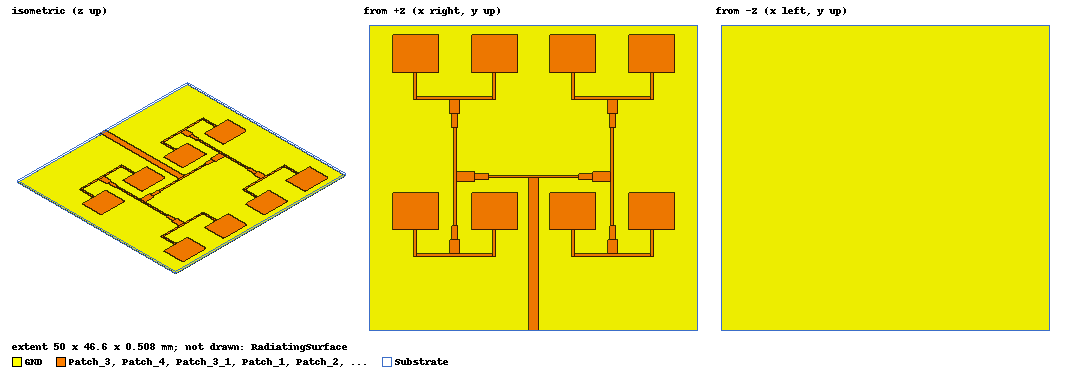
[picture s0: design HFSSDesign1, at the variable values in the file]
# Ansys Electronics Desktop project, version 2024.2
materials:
  vacuum: permittivity=1
  Rogers RT/duroid 5880 (tm): permittivity=2.2 dielectric_loss_tangent=0.0009

design HFSSDesign1 (HFSS, HFSS Terminal Network, model units mm)
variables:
  Lg = 11.67mm
  Wg = 24.61mm
  Hs = 0.508mm
  Ls = 11.67mm
  Ws = 24.61mm
  Wf = 1.565mm
  Lf = 2.2mm
  Lp = 3.51mm
  Wp = 4.591mm
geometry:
  50ohm = rectangle(corner=(11.67mm/2 - 2.2mm, -1.565mm/2, 0.508mm), x_size=2.2mm, y_size=1.565mm)
  100ohm_1 = rectangle(corner=(11.67mm/2 - Lf - 0.455mm, -11.545mm/2, 0.508mm), x_size=0.455mm, y_size=11.545mm)
  Feedline_1 = rectangle(corner=(3.635mm, -0.455mm-11.545mm/2, 0.508mm), x_size=-4.135mm, y_size=0.455mm)
  Feedline_2 = rectangle(corner=(3.635mm, 11.545mm/2, 0.508mm), x_size=-4.135mm, y_size=0.455mm)
  [50ohm, 100ohm_1, Feedline_1, Feedline_2].rotate(axis=Z, angle=270deg)
  70ohm = rectangle(corner=((0-0.9/2) mm, -5.835mm, 0.508mm), x_size=0.9mm, y_size=-2.14mm)
  100ohm_3 = rectangle(corner=((0-0.455/2) mm, -7.975mm, 0.508mm), x_size=0.455mm, y_size=-14.9mm)
  70ohm1 = rectangle(corner=((0-0.9/2) mm, (-5.835-10.9-2.14) mm, 0.508mm), x_size=0.9mm, y_size=-2.14mm)
  50ohm1 = rectangle(corner=(11.67mm/2 + 2.2mm + 2.14mm + 10.9mm, -1.565mm/2, 0.508mm), x_size=2.2mm, y_size=1.565mm)
  50ohm1.rotate(axis=Z, angle=270deg)
  50ohm1.move(0mm, 0.06mm, 0mm)
  100ohm_2 = rectangle(corner=(11.67mm/2 - Lf - 0.455mm, -11.545mm/2, 0.508mm), x_size=0.455mm, y_size=11.545mm)
  100ohm_2.rotate(axis=Z, angle=270deg)
  100ohm_2.move(0mm, -20.065mm, -0.008mm)
  100ohm_2.move(0mm, 0.03mm, 0.008mm)
  Feedline_3 = rectangle(corner=(3.635mm, -0.455mm-11.545mm/2, 0.508mm), x_size=-4.135mm, y_size=0.455mm)
  Feedline_3.rotate(axis=Z, angle=270deg)
  Feedline_4 = rectangle(corner=(3.635mm, 11.545mm/2, 0.508mm), x_size=-4.135mm, y_size=0.455mm)
  Feedline_4.rotate(axis=Z, angle=270deg)
  [Feedline_3, Feedline_4].move(-0.1725mm, -19.965mm, 0.092mm)
  [Feedline_3, Feedline_4].move(0.1725mm, -0.07mm, -0.092mm)
  [50ohm, 100ohm_1, Feedline_1, Feedline_2, 70ohm, 100ohm_3, 70ohm1, 50ohm1, 100ohm_2, Feedline_3, Feedline_4].move(-0.2275mm, 13.425mm, -0.508mm)
  50ohm_H1 = rectangle(corner=(0mm, (0+1.565/2) mm, 0mm), x_size=2.8mm, y_size=-1.565mm)
  70ohm_H1 = rectangle(corner=((0+2.8) mm, (0+0.9/2) mm, 0mm), x_size=2.14mm, y_size=-0.9mm)
  100ohm_H = rectangle(corner=(4.94mm, (0+0.455/2) mm, 0mm), x_size=13.65mm, y_size=-0.455mm)
  70ohm_H2 = rectangle(corner=((0+2.8) mm, (0+0.9/2) mm, 0mm), x_size=2.14mm, y_size=-0.9mm)
  70ohm_H2.move(15.86mm, 0.0275mm, 0mm)
  70ohm_H2.move(-0.07mm, -0.0275mm, 0mm)
  50ohm_H2 = rectangle(corner=(0mm, (0+1.565/2) mm, 0mm), x_size=2.8mm, y_size=-1.565mm)
  50ohm_H2.move(20.8mm, -0.05mm, 0mm)
  50ohm_H2.move(-0.07mm, 0.05mm, 0mm)
  [50ohm, 100ohm_1, Feedline_1, Feedline_2, 70ohm, 100ohm_3, 70ohm1, 50ohm1, 100ohm_2, Feedline_3, Feedline_4, 50ohm_H1, 70ohm_H1, 100ohm_H, 70ohm_H2, 50ohm_H2].move(-11.765mm, 0.2275mm, 0mm)
  50ohm_Main = rectangle(corner=((0-1.565/2) mm, 0mm, 0mm), x_size=1.565mm, y_size=-23.3mm)
  Substrate [vacuum] = box(corner=(-25mm, -23.3mm, 0mm), size=(50mm, (23.3*2) mm, -0.508mm))
  P1 = rectangle(corner=(-0.7825mm, -23.3mm, 0mm), z_size=-0.508mm, x_size=1.565mm)
  RadiatingSurface [vacuum] = region(absolute_offset=3.8461538mm on all sides)
  Patch_1 = rectangle(corner=(-4mm, 10mm, 0mm), x_size=6.97mm, y_size=5.647mm)
  Patch_1.move(0mm, 0mm, 0mm)
  Patch_1.move(-17.4775mm, 4.1525mm, 0mm)
  Patch_2 = rectangle(corner=(-10mm, 19mm, 0mm), x_size=6.97mm, y_size=5.647mm)
  Patch_2.move(0.5225mm, -4.8475mm, 0mm)
  Patch_3 = rectangle(corner=(-22mm, 2mm, 0mm), x_size=6.97mm, y_size=5.647mm)
  Patch_3.move(0.5225mm, -7.8825mm, 0mm)
  [100ohm_2, 50ohm1, 70ohm1, Feedline_3, Feedline_4, Patch_3].move(0mm, -4mm, 0mm)
  Patch_4 = rectangle(corner=(-10mm, -4mm, 0mm), x_size=6.97mm, y_size=5.647mm)
  Patch_4.move(0.5225mm, -5.8825mm, 0mm)
  50ohm_1 = 50ohm.duplicate_along_line(step=(24mm, 0mm, 0mm), total=2)
  100ohm_1_1 = 100ohm_1.duplicate_along_line(step=(24mm, 0mm, 0mm), total=2)
  100ohm_2_1 = 100ohm_2.duplicate_along_line(step=(24mm, 0mm, 0mm), total=2)
  100ohm_3_1 = 100ohm_3.duplicate_along_line(step=(24mm, 0mm, 0mm), total=2)
  70ohm_1 = 70ohm.duplicate_along_line(step=(24mm, 0mm, 0mm), total=2)
  70ohm1_1 = 70ohm1.duplicate_along_line(step=(24mm, 0mm, 0mm), total=2)
  50ohm1_1 = 50ohm1.duplicate_along_line(step=(24mm, 0mm, 0mm), total=2)
  Feedline_1_1 = Feedline_1.duplicate_along_line(step=(24mm, 0mm, 0mm), total=2)
  Feedline_2_1 = Feedline_2.duplicate_along_line(step=(24mm, 0mm, 0mm), total=2)
  Feedline_3_1 = Feedline_3.duplicate_along_line(step=(24mm, 0mm, 0mm), total=2)
  Feedline_4_1 = Feedline_4.duplicate_along_line(step=(24mm, 0mm, 0mm), total=2)
  Patch_2_1 = Patch_2.duplicate_along_line(step=(24mm, 0mm, 0mm), total=2)
  Patch_1_1 = Patch_1.duplicate_along_line(step=(24mm, 0mm, 0mm), total=2)
  Patch_3_1 = Patch_3.duplicate_along_line(step=(24mm, 0mm, 0mm), total=2)
  Patch_4_1 = Patch_4.duplicate_along_line(step=(24mm, 0mm, 0mm), total=2)
  [Patch_2, Feedline_2, Patch_1, Feedline_1, 100ohm_1, 50ohm].move(0mm, 2mm, 0mm)
  50ohm.delete()
  [70ohm, 100ohm_3, 70ohm1, 50ohm1, Patch_4, Feedline_4, Patch_3, Feedline_3, 100ohm_2].move(0mm, 2mm, 0mm)
  [Patch_1_1, Patch_2_1, Feedline_1_1, 100ohm_1_1, Feedline_2_1, 50ohm_1, 70ohm_1, 100ohm_3_1, 70ohm1_1, 50ohm1_1, Patch_3_1, Patch_4_1, Feedline_4_1, 100ohm_2_1, Feedline_3_1].move(-0.015mm, 2mm, 0mm)
  50ohm_2 = rectangle(corner=(11.67mm/2 - 2.2mm, -1.565mm/2, 0.508mm), x_size=1.565mm, y_size=2.2mm)
  50ohm_2.move(-16.41mm, 10.6mm, -0.508mm)
  GND = rectangle(corner=(-25mm, -23.3mm, -0.508mm), x_size=50mm, y_size=46.6mm)
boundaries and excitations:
  Open1: Radiation Objects=RadiatingSurface
  PerfE1: Perfect E Objects=[100ohm_1, 100ohm_1_1, 100ohm_2, 100ohm_2_1, 100ohm_3, 100ohm_3_1, 100ohm_H, 50ohm_1, 50ohm_2, 50ohm_H1, 50ohm_H2, 50ohm_Main, 50ohm1, 50ohm1_1, 70ohm, 70ohm_1, 70ohm_H1, 70ohm_H2, 70ohm1, 70ohm1_1, Feedline_1, Feedline_1_1, Feedline_2, Feedline_2_1, Feedline_3, Feedline_3_1, Feedline_4, Feedline_4_1, GND, Patch_1, Patch_1_1, Patch_2, Patch_2_1, Patch_3, Patch_3_1, Patch_4, Patch_4_1]
  1: Lumped Port Objects=P1 LumpedPortType=Modal Modes{Mode1{IntLine{(0, -23.3, -0.508) -> (0, -23.3, 0)} CharImp=Zpi RenormImp=50ohm}} Impedance=50ohm
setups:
  Setup1: HfssDriven Frequency=17GHz MaxDeltaS=0.02 MaximumPasses=6 MinimumPasses=1 MinimumConvergedPasses=1 PercentRefinement=30 BasisOrder=1 PortAccuracy=2 DrivenSolverType="Direct Solver"
    sweep Sweep: 15GHz to 30GHz, 201 points; Type=Fast SaveFields
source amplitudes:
  1:1: 1V 0deg
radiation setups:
  3D: Infinite Sphere Theta=0deg..180deg step 2deg Phi=-180deg..180deg step 2deg
  Elevation: Infinite Sphere Theta=-180deg..180deg step 1deg Phi=0deg..90deg step 90deg
  Azimuth: Infinite Sphere Theta=90deg..90deg step 0deg Phi=-180deg..180deg step 1deg
  Infinite Sphere1: Infinite Sphere Theta=-180deg..180deg step 10deg Phi=0deg..360deg step 10deg
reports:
  S Parameter Plot 1: dB(S(1,1)) vs Freq on Setup1 : Sweep
  Axial Ratio Plot 1: dB(AxialRatioValue) vs Freq on Setup1 : Sweep, Infinite Sphere1 [Phi=0deg Theta=0deg]; markers m1 at 27.3GHz
